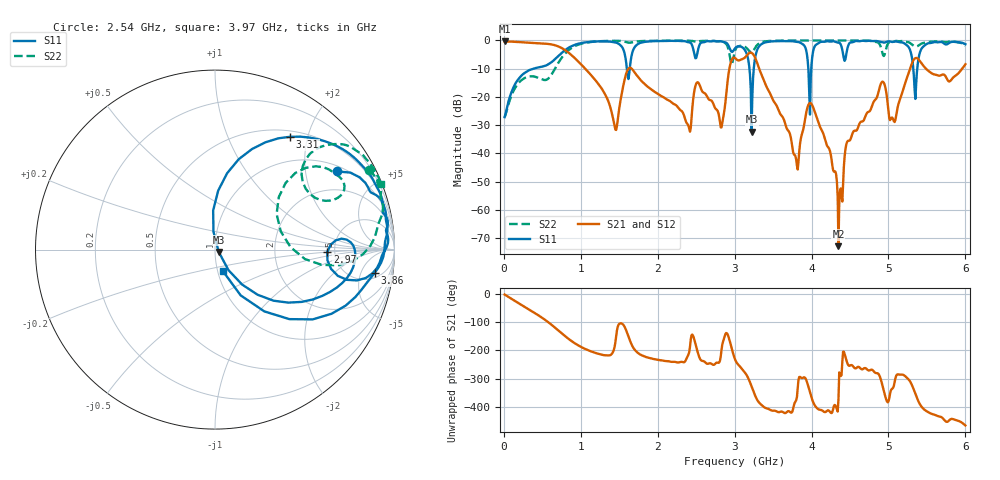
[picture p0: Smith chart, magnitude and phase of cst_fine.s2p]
! G_pp200: Plane pair 50 × 30 mm, d = 0.2 mm, ports at a corner and the centre
! stackup: plane pair, 0.2 mm FR-4
! ports: 1 corner, 2 centre
! CST Studio Suite 2025.5 Release from 2025-05-30, time domain (FIT, hexahedral, PBA), 85440 mesh cells, 51 s
! mesh: {'lpw': 30.0, 'lpb': 30.0, 'minstep': 0.0, 'ratio': 20}; ports: port 1 (edge); port 2 (edge)
! interpolated from CST's 1001 samples to the case grid
# Hz S RI R 1
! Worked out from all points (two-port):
!   600 points, 10 MHz to 6 GHz, reference 1 ohm
!   highest |S21| = -0.38 dB at 10 MHz (marker M1); lowest = -72.9 dB at 4.35 GHz (marker M2)
!   |S21| within 3 dB of the highest: start of sweep to 792.6 MHz
!   lowest |S11| = -32.3 dB at 3.22 GHz (marker M3), VSWR 1.05, Z = 1.04 - j0.0267 ohm
!   |S11| at or under -10 dB: start of sweep to 389.1 MHz; 3.193 GHz to 3.249 GHz (56.41 MHz wide, 1.75 % of centre); 5.322 GHz to 5.374 GHz (52.07 MHz wide, 0.974 % of centre)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
!   |S22| runs from -27.1 to 0.0 dB; largest |S21 - S12| = 0.0044
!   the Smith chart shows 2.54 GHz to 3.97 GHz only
!   S11 on the Smith chart (normalised r, x): 2.54 GHz: 1.19, +3.00; 2.97 GHz: 4.34, -0.17; 3.31 GHz: 0.59, +1.71; 3.86 GHz: 7, -9; 3.97 GHz: 1.06, -0.25
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1e7  -0.0419 0.0122  0.9568 -0.0286  0.9568 -0.0286  -0.0425 0.012
5.2e8  0.1563 0.3123  0.0228 -0.8787  0.0227 -0.8787  0.1208 -0.1585
1.01e9  0.6255 0.6456  -0.3649 0.0554  -0.365 0.0554  -0.2438 0.8385
1.45e9  0.9176 0.0347  -0.026 -0.00401  -0.0259 -0.00431  0.4923 0.8518
1.64e9  -0.2311 0.2596  -0.3161 -0.0819  -0.3147 -0.0816  0.5618 0.7167
2.01e9  0.8641 0.4533  -0.0653 0.09  -0.0652 0.09  0.7567 0.6365
2.4e9  0.9256 0.0838  -0.0251 0.0174  -0.0254 0.0173  0.8654 0.4754
2.54e9  0.6824 0.4354  -0.1219 0.1159  -0.1224 0.1151  0.8579 0.4426
2.83e9  0.9567 0.0152  -0.0274 0.00845  -0.028 0.00814  0.9272 0.1855
2.97e9  0.6261 -0.0116  -0.4428 0.1681  -0.4389 0.1671  0.3433 0.1983
3.01e9  0.734 0.0553  -0.278 0.3924  -0.2787 0.39  0.507 0.4556
3.22e9  0.0207 -0.0128  0.508 0.3212  0.5057 0.3212  0.5051 0.3395
3.31e9  0.4183 0.6287  0.3157 -0.1314  0.3169 -0.1306  0.6376 0.585
3.86e9  0.8897 -0.1293  0.00797 0.0161  0.00812 0.0162  0.916 0.3879
3.97e9  0.0425 -0.1177  0.0717 0.0265  0.0712 0.026  0.9227 0.3629
4.01e9  0.1364 0.5018  0.0679 -0.0195  0.0675 -0.0191  0.9251 0.3568
4.35e9  0.9119 0.089  0.00022 -5.48e-05  0.000235 -9.06e-05  0.9537 0.2889
4.91e9  0.9309 0.0661  0.1202 0.1334  0.1188 0.1333  0.6791 -0.0644
5.01e9  0.9604 0.0276  0.0417 -0.00768  0.0424 -0.00808  0.8368 0.3856
5.28e9  0.4831 -0.4791  0.2001 0.2393  0.1998 0.2385  0.8921 0.1119
5.36e9  -0.0898 0.1431  0.4878 -0.0175  0.487 -0.0159  0.7587 0.1867
6e9  0.8546 0.0349  -0.1079 -0.362  -0.1083 -0.3617  0.7882 -0.1436
